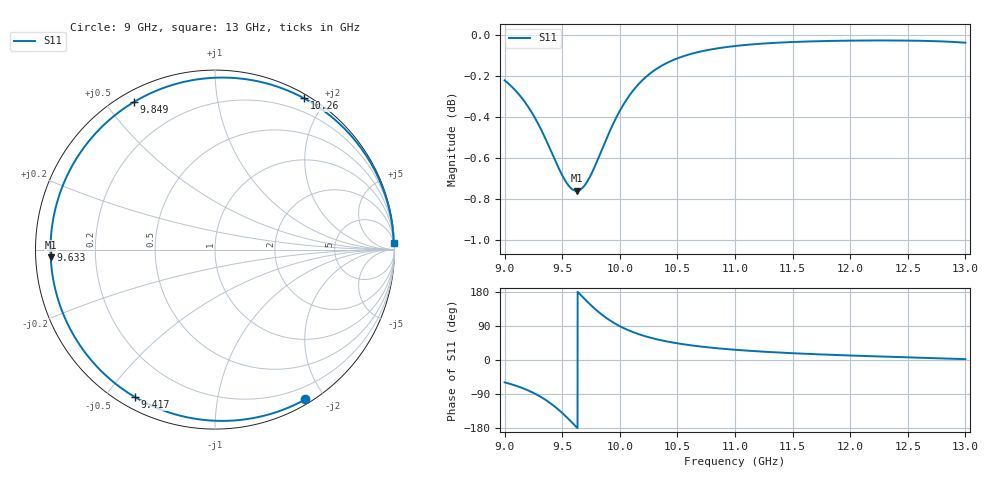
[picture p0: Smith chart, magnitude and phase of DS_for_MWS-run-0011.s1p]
! TOUCHSTONE file generated by CST DESIGN STUDIO
! Date and time: Wed Feb  5 13:30:18 2025
! Project name: C:\Work\MatlabApps\UnitCellOptimizationMatlab\CST\unitcell.cst
! Tree item: Tasks\Sweep1\SPara1\S-Parameters
! Header version: 2024
! Port assignment regex: !\s*Touchstone port\s*([0-9]+)\s*=\s*(CST MWS port|CST DES external port|CST DES block port)\s*(.+)\s* \(\"(.*)\"\)(\s*mode\s*([0-9]+))?.*
! Touchstone port assignment:
! Touchstone port 1 = CST DES external port 1 ("")
# GHz S MA R 50
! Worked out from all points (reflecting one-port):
!   4001 points, 9 GHz to 13 GHz, reference 50 ohm
!   lowest |S11| = -0.8 dB at 9.625 GHz (marker M1), VSWR 22.88, Z = 2.19 - j1.15 ohm
!   phase of S11 starts at -59 deg and turns -299 deg over the sweep
!   S11 on the Smith chart (normalised r, x): 9 GHz: 0.05, -1.77; 9.417 GHz: 0.05, -0.59; 9.633 GHz: 0.04, -0.00; 9.849 GHz: 0.04, +0.59; 10.26 GHz: 0.04, +1.75; 13 GHz: 6, +51
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9  0.9747 -58.9
9.104  0.9685 -68.4
9.21  0.9599 -81.0
9.271  0.9536 -90.0
9.324  0.9473 -99.1
9.372  0.9411 -108.5
9.417  0.935 -118.5
9.459  0.9293 -128.8
9.5  0.9242 -139.8
9.566  0.9182 -159.0
9.625  0.9163 -177.4
9.633  0.9163 -179.9
9.678  0.9179 166.0
9.725  0.9218 151.7
9.787  0.9294 134.2
9.849  0.9382 118.6
9.919  0.9481 103.6
10  0.9582 89.2
10.123  0.9697 72.6
10.258  0.9782 59.5
10.371  0.983 51.3
10.5  0.9868 44.0
10.719  0.9908 34.9
11  0.9936 27.0
11.5  0.9958 17.9
12  0.9966 11.9
12.5  0.9966 7.0
13  0.9954 2.2
